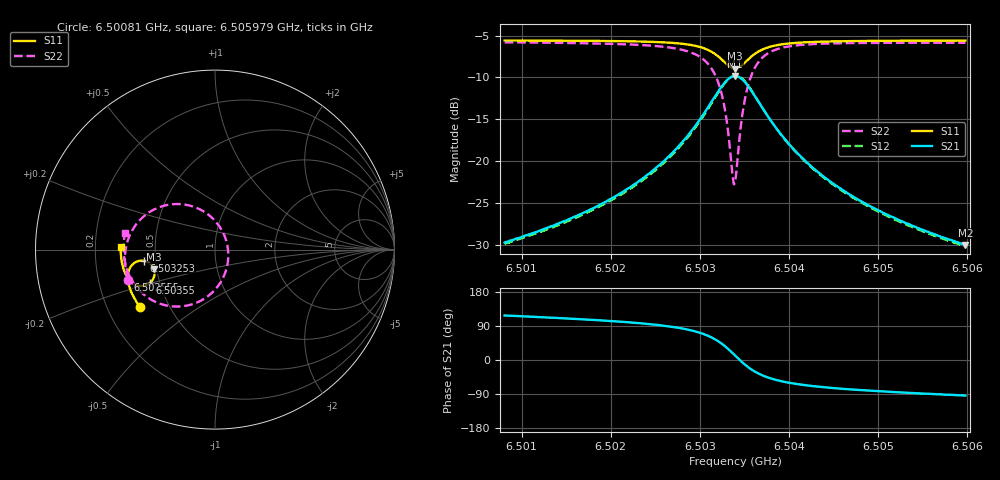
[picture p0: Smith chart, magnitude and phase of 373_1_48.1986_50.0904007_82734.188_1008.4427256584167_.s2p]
#  HZ  S  RI  R  50.00
! Rohde & Schwarz Vector Network Analyzer
! Rohde-Schwarz,ZNB20-2Port,1311601062101988,3.16
! Created: UTC 3/20/2024, 11:52:47 AM
! freq[Hz]  re:S11  im:S11  re:S21  im:S21  re:S12  im:S12  re:S22  im:S22
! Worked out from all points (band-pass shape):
!   401 points, 6.50081 GHz to 6.505979 GHz, reference 50 ohm
!   highest |S21| = -9.83 dB at 6.503395 GHz (marker M1); lowest = -30.0 dB at 6.505979 GHz (marker M2)
!   |S21| within 3 dB of the highest: 6.503136 GHz to 6.503653 GHz (516.8 kHz wide, 0.00795 % of centre)
!   lowest |S11| = -8.9 dB at 6.503395 GHz (marker M3), VSWR 2.11, Z = 24.2 - j6.09 ohm
!   |S11| at or under -10 dB: nowhere
!   |S22| runs from -22.8 to -5.8 dB; largest |S21 - S12| = 0.011
!   S11 on the Smith chart (normalised r, x): 6.50081 GHz: 0.34, -0.30; 6.502555 GHz: 0.33, -0.15; 6.503253 GHz: 0.43, -0.06; 6.50355 GHz: 0.44, -0.20; 6.505979 GHz: 0.31, +0.01
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6.5008103e9  -0.4199 -0.3177  -0.015 0.0288  -0.0133 0.0291  -0.4857 -0.1669
6.5016761e9  -0.4581 -0.255  -0.0146 0.0462  -0.0122 0.0458  -0.501 -0.077
6.5021413e9  -0.4749 -0.2146  -0.0121 0.0646  -0.009 0.0635  -0.4996 -0.013
6.5025418e9  -0.485 -0.1715  -0.0033 0.094  0.000289 0.0918  -0.4814 0.0639
6.5025547e9  -0.4852 -0.1699  -0.0028 0.0953  0.000812 0.0931  -0.4801 0.067
6.5028003e9  -0.485 -0.1348  0.0151 0.1282  0.019 0.1245  -0.4426 0.1362
6.5029812e9  -0.4737 -0.1016  0.0493 0.1641  0.0525 0.1586  -0.3754 0.2021
6.5031491e9  -0.4395 -0.0685  0.1259 0.1972  0.1271 0.1908  -0.2349 0.2529
6.5032525e9  -0.3974 -0.0614  0.2102 0.1889  0.2104 0.1835  -0.0883 0.2262
6.5033042e9  -0.3722 -0.0699  0.2578 0.1614  0.2588 0.1568  -0.00887 0.17
6.5033688e9  -0.3459 -0.0957  0.3051 0.0989  0.3076 0.094  0.0624 0.05
6.5033947e9  -0.3395 -0.1099  0.3154 0.0673  0.3183 0.0616  0.0733 -0.00869
6.5034076e9  -0.3376 -0.1176  0.3181 0.051  0.3212 0.0447  0.0742 -0.0389
6.5034851e9  -0.3434 -0.1618  0.3017 -0.0422  0.3036 -0.0519  0.018 -0.2016
6.5035497e9  -0.3641 -0.1871  0.2599 -0.0956  0.2586 -0.1064  -0.0763 -0.2832
6.5036531e9  -0.403 -0.202  0.1867 -0.1315  0.1814 -0.1406  -0.2235 -0.317
6.5038211e9  -0.4484 -0.1922  0.1066 -0.1288  0.0998 -0.1336  -0.3678 -0.2717
6.504002e9  -0.4754 -0.1709  0.0629 -0.1092  0.0568 -0.1115  -0.4387 -0.2079
6.5042604e9  -0.4962 -0.1407  0.0334 -0.0855  0.0288 -0.0861  -0.4815 -0.1368
6.5046351e9  -0.5113 -0.1023  0.0151 -0.0635  0.0118 -0.0632  -0.5033 -0.0646
6.5051262e9  -0.521 -0.0574  0.00491 -0.0468  0.00281 -0.0462  -0.5097 0.00321
6.505979e9  -0.5257 0.0145  -0.0021 -0.0314  -0.0034 -0.0308  -0.5015 0.0918
